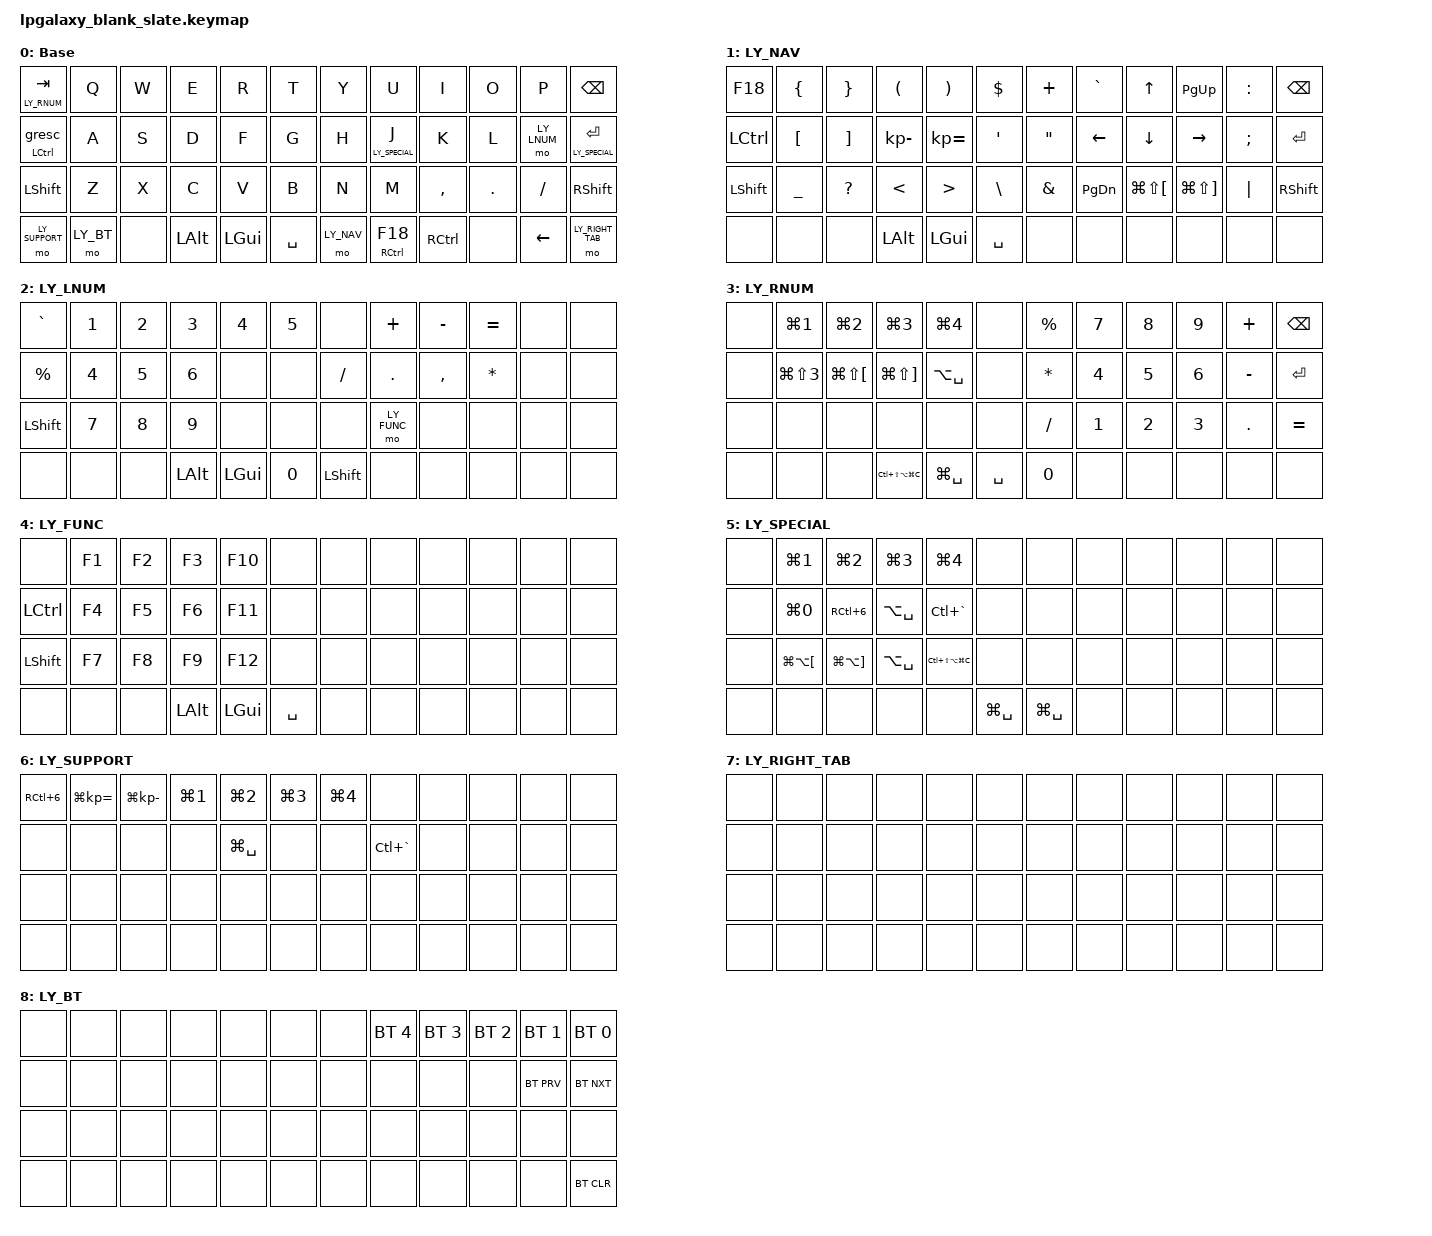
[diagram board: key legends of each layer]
#include <behaviors.dtsi>
#include <dt-bindings/zmk/keys.h>
#include <dt-bindings/zmk/bt.h>
#include <dt-bindings/zmk/outputs.h>

#define TBLE_ORTHO 1
// #define BT(n) BT_SEL n
#define ___ &none
// #define XXX &none
// #define ___ &trans

#define LY_NAV 1
#define LY_LNUM 2
#define LY_RNUM 3
#define LY_FUNC 4
#define LY_SPECIAL 5
#define LY_SUPPORT 6
#define LY_RIGHT_TAB 7
#define LY_BT 8

&kscan {
    debounce-press-ms = <10>;
    debounce-release-ms = <10>;
};

&lt { tapping-term-ms = <200>; };
&mt { tapping-term-ms = <300>; };

//- 콤보로 탭 이동 및 다른 단축키 설정하기

/ {

    chosen { zmk,matrix_transform = &ortho_transform; };

    behaviors {
        gresc: grave_escape {
            compatible = "zmk,behavior-mod-morph";
            #binding-cells = <0>;
            bindings = <&kp ESC>, <&kp GRAVE>;
            mods = <(MOD_LGUI|MOD_LSFT|MOD_RSFT)>;
            keep-mods = <(MOD_LGUI|MOD_RSFT)>;
        };

        kp_gresc: kp_to_gresc {
            compatible = "zmk,behavior-hold-tap";
            #binding-cells = <2>;
            flavor = "balanced";
            bindings = <&kp>, <&gresc>;
            tapping-term-ms = <170>;
        };

        kpkp: kp_to_kp {
            compatible = "zmk,behavior-hold-tap";
            #binding-cells = <2>;
            flavor = "balanced";
            bindings = <&kp>, <&kp>;
            tapping-term-ms = <180>;
        };

        mokp1: mo_to_kp1 {
            compatible = "zmk,behavior-hold-tap";
            #binding-cells = <2>;
            flavor = "balanced";
            bindings = <&mo>, <&kp>;
            tapping-term-ms = <150>;
        };

        mokp2: mo_to_kp2 {
            compatible = "zmk,behavior-hold-tap";
            #binding-cells = <2>;
            flavor = "balanced";
            bindings = <&mo>, <&kp>;
            tapping-term-ms = <170>;
            require-prior-idle-ms = <110>;
        };
    };

    keymap {
        compatible = "zmk,keymap";

        base_layer {
            label = "Base";
            bindings = <
                &mokp1 LY_RNUM TAB  &kp Q      &kp W  &kp E     &kp R     &kp T      &kp Y       &kp U                &kp I      &kp O    &kp P        &kp BKSP
                &kp_gresc LCTRL 0   &kp A      &kp S  &kp D     &kp F     &kp G      &kp H       &mokp2 LY_SPECIAL J  &kp K      &kp L    &mo LY_LNUM  &mokp1 LY_SPECIAL RET
                &kp LSHFT           &kp Z      &kp X  &kp C     &kp V     &kp B      &kp N       &kp M                &kp COMMA  &kp DOT  &kp SLASH    &kp RSHFT
                &mo LY_SUPPORT      &mo LY_BT  ___    &kp LALT  &kp LGUI  &kp SPACE  &mo LY_NAV  &kpkp RCTRL F18      &kp RCTRL  ___      &kp LEFT     &mo LY_RIGHT_TAB
            >;
        };

        nav_layer {
            label = "LY_NAV";
            bindings = <
                &kp F18    &kp LBRC   &kp RBRC   &kp LPAR      &kp RPAR      &kp DLLR   &kp PLUS  &kp GRAVE  &kp UP            &kp PG_UP         &kp COLON  &kp BKSP
                &kp LCTRL  &kp LBKT   &kp RBKT   &kp KP_MINUS  &kp KP_EQUAL  &kp SQT    &kp DQT   &kp LEFT   &kp DOWN          &kp RIGHT         &kp SEMI   &kp RET
                &kp LSHFT  &kp UNDER  &kp QMARK  &kp LT        &kp GT        &kp BSLH   &kp AMPS  &kp PG_DN  &kp LG(LS(LBKT))  &kp LG(LS(RBKT))  &kp PIPE   &kp RSHFT
                ___        ___        ___        &kp LALT      &kp LGUI      &kp SPACE  ___       ___        ___               ___               ___        ___
            >;
        };

        left_num_layer {
            label = "LY_LNUM";
            bindings = <
                &kp GRAVE  &kp NUMBER_1  &kp NUMBER_2  &kp NUMBER_3  &kp NUMBER_4  &kp NUMBER_5  ___        &kp PLUS     &kp MINUS  &kp EQUAL  ___  ___
                &kp PRCNT  &kp NUMBER_4  &kp NUMBER_5  &kp NUMBER_6  ___           ___           &kp SLASH  &kp DOT      &kp COMMA  &kp STAR   ___  ___
                &kp LSHFT  &kp NUMBER_7  &kp NUMBER_8  &kp NUMBER_9  ___           ___           ___        &mo LY_FUNC  ___        ___        ___  ___
                ___        ___           ___           &kp LALT      &kp LGUI      &kp NUMBER_0  &kp LSHFT  ___          ___        ___        ___  ___
            >;
        };

        right_num_layer {
            label = "LY_RNUM";
            bindings = <
                ___  &kp LG(NUMBER_1)      &kp LG(NUMBER_2)  &kp LG(NUMBER_3)        &kp LG(NUMBER_4)       ___        &kp PRCNT     &kp NUMBER_7  &kp NUMBER_8  &kp NUMBER_9  &kp PLUS   &kp BKSP
                ___  &kp LG(LS(NUMBER_3))  &kp LG(LS(LBKT))  &kp LG(LS(RBKT))        &kp LA(SPACE)          ___        &kp STAR      &kp NUMBER_4  &kp NUMBER_5  &kp NUMBER_6  &kp MINUS  &kp RET
                ___  ___                   ___               ___                     ___                    ___        &kp SLASH     &kp NUMBER_1  &kp NUMBER_2  &kp NUMBER_3  &kp DOT    &kp EQUAL
                ___  ___                   ___               &kp LC(LS(LA(LG(C))))  &kp LG(SPACE)           &kp SPACE  &kp NUMBER_0  ___           ___           ___           ___        ___
            >;
        };

        func_layer {
            label = "LY_FUNC";
            bindings = <
                ___        &kp F1  &kp F2  &kp F3    &kp F10   ___        ___  ___  ___  ___  ___  ___
                &kp LCTRL  &kp F4  &kp F5  &kp F6    &kp F11   ___        ___  ___  ___  ___  ___  ___
                &kp LSHFT  &kp F7  &kp F8  &kp F9    &kp F12   ___        ___  ___  ___  ___  ___  ___
                ___        ___     ___     &kp LALT  &kp LGUI  &kp SPACE  ___  ___  ___  ___  ___  ___
            >;
        };

        nav_special_layer {
            label = "LY_SPECIAL";
            bindings = <
                ___  &kp LG(NUMBER_1)  &kp LG(NUMBER_2)  &kp LG(NUMBER_3)  &kp LG(NUMBER_4)        ___                   ___            ___  ___  ___  ___  ___
                ___  &kp LG(NUMBER_0)  &kp RC(NUMBER_6)  &kp LA(SPACE)     &kp LC(GRAVE)           ___                   ___            ___  ___  ___  ___  ___
                ___  &kp LG(LA(LBKT))  &kp LG(LA(RBKT))  &kp LA(SPACE)     &kp LC(LS(LA(LG(C))))   ___                   ___            ___  ___  ___  ___  ___
                ___  ___               ___               ___               ___                     &kp LG(SPACE)         &kp LG(SPACE)  ___  ___  ___  ___  ___
            >;
        };

        support_layer {
            label = "LY_SUPPORT";
            bindings = <
                &kp RC(NUMBER_6)  &kp LG(KP_EQUAL)  &kp LG(KP_MINUS)  &kp LG(NUMBER_1)  &kp LG(NUMBER_2)    &kp LG(NUMBER_3)           &kp LG(NUMBER_4)  ___            ___  ___  ___  ___
                ___               ___               ___               ___               &kp LG(SPACE)        ___                       ___               &kp LC(GRAVE)  ___  ___  ___  ___
                ___               ___               ___               ___               ___                  ___                       ___               ___            ___  ___  ___  ___
                ___               ___               ___               ___               ___                  ___                       ___               ___            ___  ___  ___  ___
            >;
        };

        right_tab_layer {
            label = "LY_RIGHT_TAB";
            bindings = <
                ___  ___  ___  ___  ___  ___           ___  ___  ___  ___  ___  ___
                ___  ___  ___  ___  ___  ___           ___  ___  ___  ___  ___  ___
                ___  ___  ___  ___  ___  ___           ___  ___  ___  ___  ___  ___
                ___  ___  ___  ___  ___  ___           ___  ___  ___  ___  ___  ___
            >;
        };

        bt_layer {
            label = "LY_BT";
            bindings = <
                ___  ___  ___  ___  ___  ___           ___  &bt BT_SEL 4  &bt BT_SEL 3  &bt BT_SEL 2  &bt BT_SEL 1  &bt BT_SEL 0
                ___  ___  ___  ___  ___  ___           ___  ___           ___           ___           &bt BT_PRV    &bt BT_NXT
                ___  ___  ___  ___  ___  ___           ___  ___           ___           ___           ___           ___
                ___  ___  ___  ___  ___  ___           ___  ___           ___           ___           ___           &bt BT_CLR
            >;
        };

    };

};
